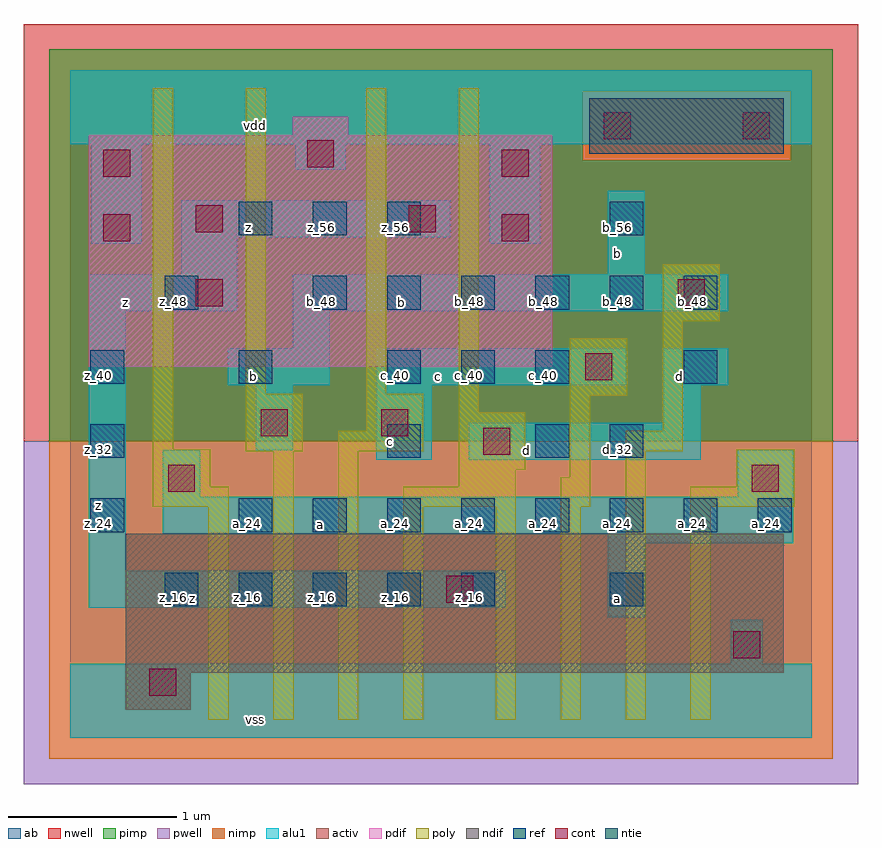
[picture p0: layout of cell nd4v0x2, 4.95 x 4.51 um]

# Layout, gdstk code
import gdstk
lib = gdstk.Library(unit=1e-6, precision=2.5e-09)
def R(c, l, rs):  # rectangles x0, y0, x1, y1
    for r in rs: c.add(gdstk.rectangle(r[:2], r[2:], *l))
def A(c, l, x, y, w, h, nx, ny, dx, dy):  # array of equal rectangles
    R(c, l, [(x+i*dx, y+j*dy, x+i*dx+w, y+j*dy+h) for i in range(nx) for j in range(ny)])
ndif = (3, 0)
pdif = (4, 0)
ntie = (5, 0)
ref = (24, 0)
cont = (25, 0)
pwell = (41, 0)
nwell = (42, 0)
activ = (43, 0)
pimp = (44, 0)
nimp = (45, 0)
poly = (46, 0)
alu1 = (49, 0)
ab = (63, 0)

nd4v0x2 = lib.new_cell('nd4v0x2')
R(nd4v0x2, ndif, [(0.33,0.165,0.715,0.385), (0.33,0.385,4.235,1.21)])
R(nd4v0x2, pdif, [(0.11,2.2,2.86,3.575), (1.32,3.575,1.65,3.685)])
R(nd4v0x2, ntie, [(3.08,3.465,4.235,3.795)])
A(nd4v0x2, ref, 0.56, 0.78, 0.2, 0.2, 5, 1, 0.44, 0)
A(nd4v0x2, ref, 1, 1.22, 0.2, 0.2, 8, 1, 0.44, 0)
A(nd4v0x2, ref, 0.12, 2.1, 0.2, 0.2, 3, 1, 0.88, 0)
A(nd4v0x2, ref, 1.44, 2.54, 0.2, 0.2, 6, 1, 0.44, 0)
A(nd4v0x2, ref, 1, 2.98, 0.2, 0.2, 3, 1, 0.44, 0)
R(nd4v0x2, ref, [(3.2,0.78,3.4,0.98), (0.12,1.22,0.32,1.42), (0.12,1.66,0.32,1.86), (1.88,1.66,2.08,1.86), (2.76,1.66,2.96,1.86), (3.2,1.66,3.4,1.86), (2.32,2.1,2.52,2.3), (2.76,2.1,2.96,2.3), (3.64,2.1,3.84,2.3), (0.56,2.54,0.76,2.74), (3.2,2.98,3.4,3.18)])
R(nd4v0x2, cont, [(0.47,0.25,0.63,0.41), (3.935,0.47,4.095,0.63), (2.23,0.8,2.39,0.96), (0.58,1.46,0.74,1.62), (4.045,1.46,4.205,1.62), (2.45,1.68,2.61,1.84), (1.13,1.79,1.29,1.95), (1.845,1.79,2.005,1.95), (3.055,2.12,3.215,2.28), (0.745,2.56,0.905,2.72), (3.605,2.56,3.765,2.72), (0.195,2.945,0.355,3.105), (2.56,2.945,2.72,3.105), (0.745,3,0.905,3.16), (2.01,3,2.17,3.16), (0.195,3.33,0.355,3.49), (2.56,3.33,2.72,3.49), (1.405,3.385,1.565,3.545), (3.165,3.55,3.325,3.71), (3.99,3.55,4.15,3.71)])
R(nd4v0x2, pwell, [(-0.275,-0.275,4.675,1.76)])
R(nd4v0x2, nwell, [(-0.275,1.76,4.675,4.235)])
R(nd4v0x2, activ, [(0.33,0.165,0.715,0.385), (0.33,0.385,4.235,1.21), (0.11,2.2,2.86,3.575), (3.08,3.465,4.235,3.795), (1.32,3.575,1.65,3.685)])
R(nd4v0x2, pimp, [(-0.125,1.76,4.525,3.425), (-0.125,3.425,3.04,3.835), (4.275,3.425,4.525,3.835), (-0.125,3.835,4.525,4.085)])
R(nd4v0x2, nimp, [(-0.125,-0.125,4.525,1.76), (3.04,3.425,4.275,3.835)])
R(nd4v0x2, poly, [(0.82,0.105,0.94,1.37), (1.205,0.105,1.325,1.7), (1.59,0.105,1.71,1.7), (1.975,0.105,2.095,1.37), (2.525,0.105,2.645,1.37), (2.91,0.105,3.03,1.37), (3.295,0.105,3.415,1.7), (3.68,0.105,3.8,1.37), (0.49,1.37,0.94,1.49), (1.975,1.37,2.645,1.49), (2.91,1.37,3.085,1.545), (3.68,1.37,4.295,1.49), (0.49,1.49,0.83,1.71), (2.305,1.49,2.645,1.59), (3.955,1.49,4.295,1.71), (2.965,1.545,3.085,2.03), (2.305,1.59,2.7,1.93), (1.04,1.7,1.38,2.04), (1.59,1.7,2.095,1.82), (3.295,1.7,3.635,1.82), (0.49,1.71,0.61,3.855), (1.755,1.82,2.095,2.04), (3.515,1.82,3.635,2.47), (2.305,1.93,2.425,3.855), (2.965,2.03,3.305,2.37), (1.04,2.04,1.16,3.855), (1.755,2.04,1.875,3.855), (3.515,2.47,3.855,2.81)])
R(nd4v0x2, alu1, [(0,0,4.4,0.44), (3.92,0.44,4.11,0.7), (3.19,0.715,3.41,1.155), (0.11,0.77,2.585,0.99), (0.11,0.99,0.33,2.53), (3.19,1.155,4.29,1.21), (0.55,1.21,4.29,1.43), (0.55,1.43,0.77,1.705), (3.96,1.43,4.29,1.705), (1.815,1.65,2.145,2.09), (2.365,1.65,3.74,1.87), (1.1,1.705,1.32,2.09), (3.52,1.87,3.74,2.09), (0.935,2.09,1.54,2.31), (1.815,2.09,3.3,2.31), (3.52,2.09,3.905,2.31), (1.32,2.31,1.54,2.53), (0.11,2.53,0.99,2.75), (1.32,2.53,3.905,2.75), (0.66,2.75,0.99,2.97), (3.19,2.75,3.41,3.245), (0.125,2.93,0.425,3.52), (2.49,2.93,2.79,3.52), (0.66,2.97,2.255,3.19), (1.335,3.37,1.635,3.52), (0,3.52,4.4,3.96)])
R(nd4v0x2, ab, [(0,0,4.4,3.96)])
nd4v0x2.add(gdstk.Label('vss', (1.1,0.11), layer=49, texttype=0))
nd4v0x2.add(gdstk.Label('a', (3.245,0.825), layer=49, texttype=0))
nd4v0x2.add(gdstk.Label('z', (0.7275,0.825), layer=49, texttype=0))
nd4v0x2.add(gdstk.Label('a', (1.485,1.265), layer=49, texttype=0))
nd4v0x2.add(gdstk.Label('d', (2.7075,1.705), layer=49, texttype=0))
nd4v0x2.add(gdstk.Label('c', (1.8975,1.76), layer=49, texttype=0))
nd4v0x2.add(gdstk.Label('d', (3.615,2.145), layer=49, texttype=0))
nd4v0x2.add(gdstk.Label('c', (2.185,2.145), layer=49, texttype=0))
nd4v0x2.add(gdstk.Label('b', (1.085,2.145), layer=49, texttype=0))
nd4v0x2.add(gdstk.Label('z', (0.165,1.375), layer=49, texttype=0))
nd4v0x2.add(gdstk.Label('b', (1.965,2.585), layer=49, texttype=0))
nd4v0x2.add(gdstk.Label('z', (0.33,2.585), layer=49, texttype=0))
nd4v0x2.add(gdstk.Label('b', (3.245,2.8725), layer=49, texttype=0))
nd4v0x2.add(gdstk.Label('z', (1.0575,3.025), layer=49, texttype=0))
nd4v0x2.add(gdstk.Label('vdd', (1.1,3.63), layer=49, texttype=0))
nd4v0x2.add(gdstk.Label('z_16', (0.61,0.83), layer=24, texttype=0))
nd4v0x2.add(gdstk.Label('z_48', (0.61,2.59), layer=24, texttype=0))
nd4v0x2.add(gdstk.Label('z_16', (1.05,0.83), layer=24, texttype=0))
nd4v0x2.add(gdstk.Label('a_24', (1.05,1.27), layer=24, texttype=0))
nd4v0x2.add(gdstk.Label('b_40', (1.05,2.15), layer=24, texttype=0))
nd4v0x2.add(gdstk.Label('z_56', (1.05,3.03), layer=24, texttype=0))
nd4v0x2.add(gdstk.Label('z_16', (1.49,0.83), layer=24, texttype=0))
nd4v0x2.add(gdstk.Label('a_24', (1.49,1.27), layer=24, texttype=0))
nd4v0x2.add(gdstk.Label('b_48', (1.49,2.59), layer=24, texttype=0))
nd4v0x2.add(gdstk.Label('z_56', (1.49,3.03), layer=24, texttype=0))
nd4v0x2.add(gdstk.Label('z_16', (1.93,0.83), layer=24, texttype=0))
nd4v0x2.add(gdstk.Label('a_24', (1.93,1.27), layer=24, texttype=0))
nd4v0x2.add(gdstk.Label('c_32', (1.93,1.71), layer=24, texttype=0))
nd4v0x2.add(gdstk.Label('c_40', (1.93,2.15), layer=24, texttype=0))
nd4v0x2.add(gdstk.Label('b_48', (1.93,2.59), layer=24, texttype=0))
nd4v0x2.add(gdstk.Label('z_56', (1.93,3.03), layer=24, texttype=0))
nd4v0x2.add(gdstk.Label('z_24', (0.17,1.27), layer=24, texttype=0))
nd4v0x2.add(gdstk.Label('z_32', (0.17,1.71), layer=24, texttype=0))
nd4v0x2.add(gdstk.Label('z_40', (0.17,2.15), layer=24, texttype=0))
nd4v0x2.add(gdstk.Label('z_16', (2.37,0.83), layer=24, texttype=0))
nd4v0x2.add(gdstk.Label('a_24', (2.37,1.27), layer=24, texttype=0))
nd4v0x2.add(gdstk.Label('c_40', (2.37,2.15), layer=24, texttype=0))
nd4v0x2.add(gdstk.Label('b_48', (2.37,2.59), layer=24, texttype=0))
nd4v0x2.add(gdstk.Label('a_24', (2.81,1.27), layer=24, texttype=0))
nd4v0x2.add(gdstk.Label('d_32', (2.81,1.71), layer=24, texttype=0))
nd4v0x2.add(gdstk.Label('c_40', (2.81,2.15), layer=24, texttype=0))
nd4v0x2.add(gdstk.Label('b_48', (2.81,2.59), layer=24, texttype=0))
nd4v0x2.add(gdstk.Label('a_16', (3.25,0.83), layer=24, texttype=0))
nd4v0x2.add(gdstk.Label('a_24', (3.25,1.27), layer=24, texttype=0))
nd4v0x2.add(gdstk.Label('d_32', (3.25,1.71), layer=24, texttype=0))
nd4v0x2.add(gdstk.Label('b_48', (3.25,2.59), layer=24, texttype=0))
nd4v0x2.add(gdstk.Label('b_56', (3.25,3.03), layer=24, texttype=0))
nd4v0x2.add(gdstk.Label('a_24', (3.69,1.27), layer=24, texttype=0))
nd4v0x2.add(gdstk.Label('d_40', (3.69,2.15), layer=24, texttype=0))
nd4v0x2.add(gdstk.Label('b_48', (3.69,2.59), layer=24, texttype=0))
nd4v0x2.add(gdstk.Label('a_24', (4.13,1.27), layer=24, texttype=0))

lib.write_gds('nd4v0x2.gds')
